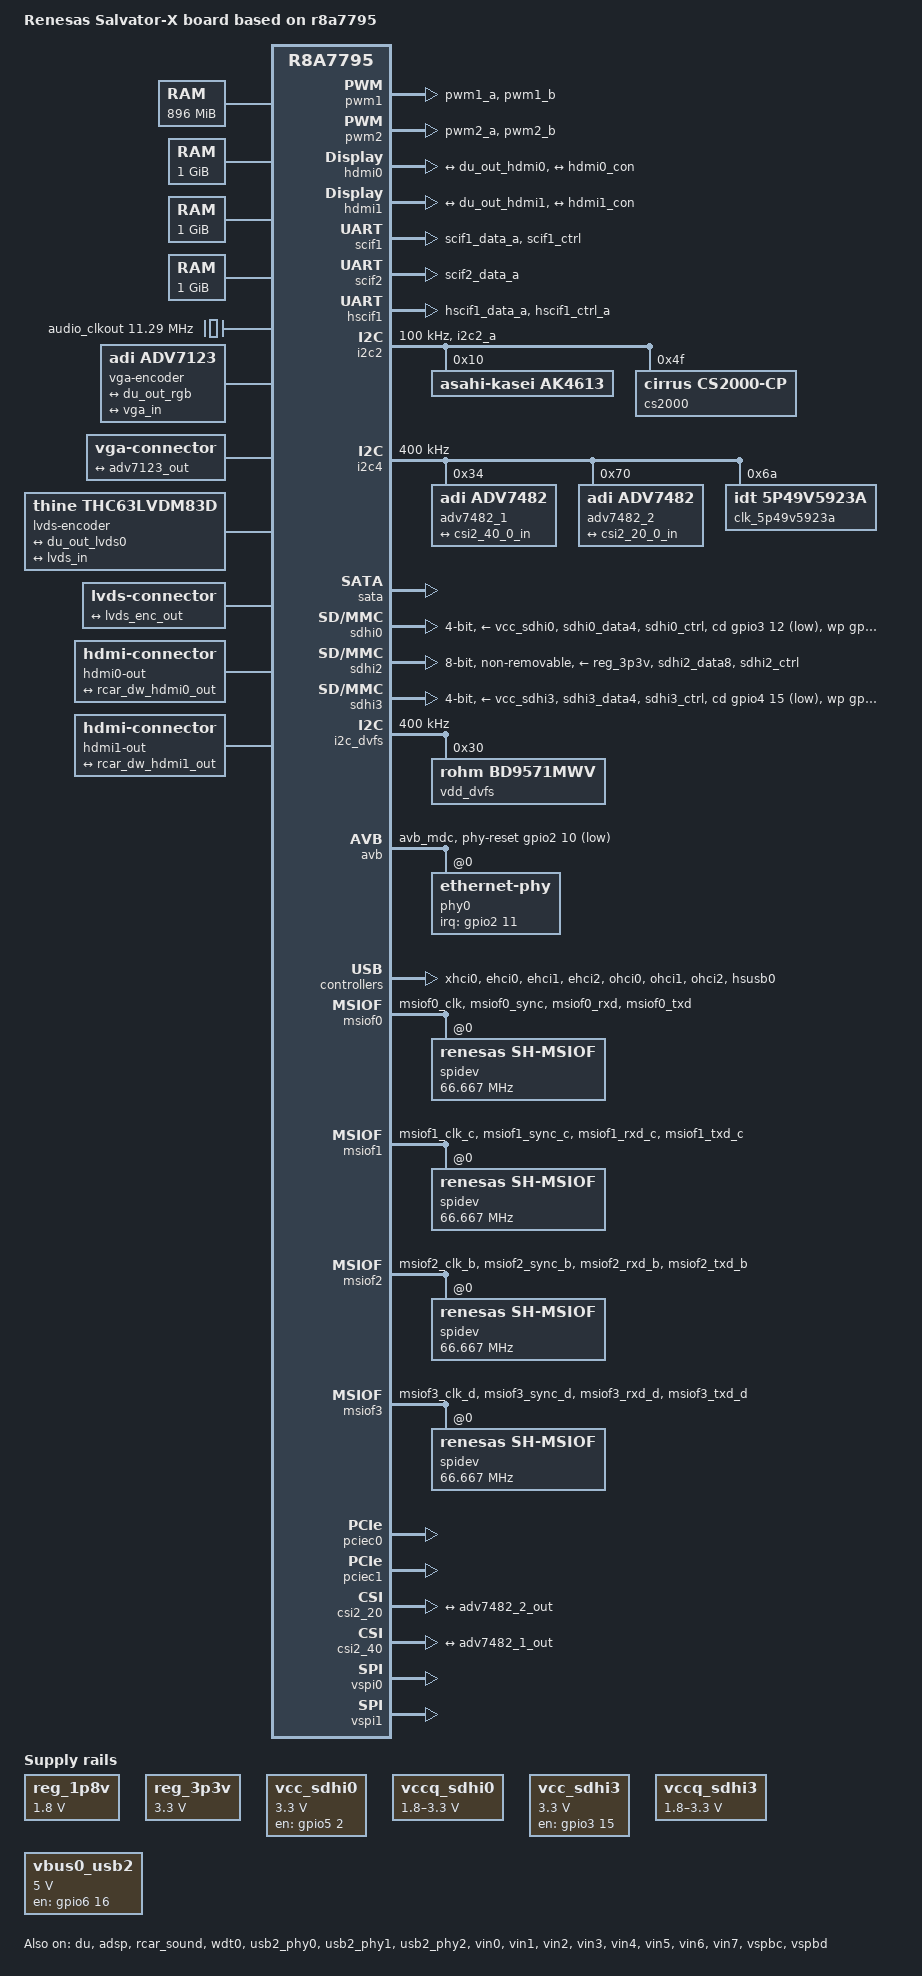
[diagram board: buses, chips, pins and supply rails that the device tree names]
/*
 * Device Tree Source for the Salvator-X board
 *
 * Copyright (C) 2015-2017 Renesas Electronics Corp.
 *
 * This file is licensed under the terms of the GNU General Public License
 * version 2.  This program is licensed "as is" without any warranty of any
 * kind, whether express or implied.
 */

/*
 * SSI-AK4613
 *
 * This command is required when Playback/Capture
 *
 *	amixer set "DVC Out" 100%
 *	amixer set "DVC In" 100%
 *
 * You can use Mute
 *
 *	amixer set "DVC Out Mute" on
 *	amixer set "DVC In Mute" on
 *
 * You can use Volume Ramp
 *
 *	amixer set "DVC Out Ramp Up Rate"   "0.125 dB/64 steps"
 *	amixer set "DVC Out Ramp Down Rate" "0.125 dB/512 steps"
 *	amixer set "DVC Out Ramp" on
 *	aplay xxx.wav &
 *	amixer set "DVC Out"  80%  // Volume Down
 *	amixer set "DVC Out" 100%  // Volume Up
 */

/dts-v1/;
#include "r8a7795.dtsi"
#include <dt-bindings/gpio/gpio.h>

/ {
	model = "Renesas Salvator-X board based on r8a7795";
	compatible = "renesas,salvator-x", "renesas,r8a7795";

	aliases {
		serial0 = &scif2;
		serial1 = &scif1;
		ethernet0 = &avb;
	};

	chosen {
		bootargs = "ignore_loglevel rw root=/dev/nfs ip=dhcp";
		stdout-path = "serial0:115200n8";
	};

	memory@48000000 {
		device_type = "memory";
		/* first 128MB is reserved for secure area. */
		reg = <0x0 0x48000000 0x0 0x38000000>;
	};

	memory@500000000 {
		device_type = "memory";
		reg = <0x5 0x00000000 0x0 0x40000000>;
	};

	memory@600000000 {
		device_type = "memory";
		reg = <0x6 0x00000000 0x0 0x40000000>;
	};

	memory@700000000 {
		device_type = "memory";
		reg = <0x7 0x00000000 0x0 0x40000000>;
	};

	reserved-memory {
		#address-cells = <2>;
		#size-cells = <2>;
		ranges;

		/* device specific region for Lossy Decompression */
		lossy_decompress: linux,lossy_decompress {
			no-map;
			reg = <0x00000000 0x54000000 0x0 0x03000000>;
		};

		/* For Audio DSP */
		adsp_reserved: linux,adsp {
			compatible = "shared-dma-pool";
			reusable;
			reg = <0x00000000 0x57000000 0x0 0x01000000>;
		};

		/* global autoconfigured region for contiguous allocations */
		linux,cma {
			compatible = "shared-dma-pool";
			reusable;
			reg = <0x00000000 0x58000000 0x0 0x18000000>;
			linux,cma-default;
		};

		/* device specific region for contiguous allocations */
		mmp_reserved: linux,multimedia {
			compatible = "shared-dma-pool";
			reusable;
			reg = <0x00000000 0x70000000 0x0 0x10000000>;
		};
	};

	mmngr {
		compatible = "renesas,mmngr";
		memory-region = <&mmp_reserved>, <&lossy_decompress>;
	};

	mmngrbuf {
		compatible = "renesas,mmngrbuf";
	};

	avb-mch {
		compatible = "renesas,avb-mch-gen3";
		reg =	<0 0xec5a0100 0 0x100>;  /* ADG_AVB */
		reg-name = "adg_avb";

		clocks = <&cpg CPG_MOD 922>;
		clock-names = "adg";
	};

	x12_clk: x12_clk {
		compatible = "fixed-clock";
		#clock-cells = <0>;
		clock-frequency = <24576000>;
	};

	reg_1p8v: regulator0 {
		compatible = "regulator-fixed";
		regulator-name = "fixed-1.8V";
		regulator-min-microvolt = <1800000>;
		regulator-max-microvolt = <1800000>;
		regulator-boot-on;
		regulator-always-on;
	};

	reg_3p3v: regulator1 {
		compatible = "regulator-fixed";
		regulator-name = "fixed-3.3V";
		regulator-min-microvolt = <3300000>;
		regulator-max-microvolt = <3300000>;
		regulator-boot-on;
		regulator-always-on;
	};

	vcc_sdhi0: regulator-vcc-sdhi0 {
		compatible = "regulator-fixed";

		regulator-name = "SDHI0 Vcc";
		regulator-min-microvolt = <3300000>;
		regulator-max-microvolt = <3300000>;

		gpio = <&gpio5 2 GPIO_ACTIVE_HIGH>;
		enable-active-high;
	};

	vccq_sdhi0: regulator-vccq-sdhi0 {
		compatible = "regulator-gpio";

		regulator-name = "SDHI0 VccQ";
		regulator-min-microvolt = <1800000>;
		regulator-max-microvolt = <3300000>;

		gpios = <&gpio5 1 GPIO_ACTIVE_HIGH>;
		gpios-states = <1>;
		states = <3300000 1
			  1800000 0>;
	};

	vcc_sdhi3: regulator-vcc-sdhi3 {
		compatible = "regulator-fixed";

		regulator-name = "SDHI3 Vcc";
		regulator-min-microvolt = <3300000>;
		regulator-max-microvolt = <3300000>;

		gpio = <&gpio3 15 GPIO_ACTIVE_HIGH>;
		enable-active-high;
	};

	vccq_sdhi3: regulator-vccq-sdhi3 {
		compatible = "regulator-gpio";

		regulator-name = "SDHI3 VccQ";
		regulator-min-microvolt = <1800000>;
		regulator-max-microvolt = <3300000>;

		gpios = <&gpio3 14 GPIO_ACTIVE_HIGH>;
		gpios-states = <1>;
		states = <3300000 1
			  1800000 0>;
	};

	vbus0_usb2: regulator-vbus0-usb2 {
		compatible = "regulator-fixed";

		regulator-name = "USB20_VBUS0";
		regulator-min-microvolt = <5000000>;
		regulator-max-microvolt = <5000000>;

		gpio = <&gpio6 16 GPIO_ACTIVE_HIGH>;
		enable-active-high;
	};

	audio_clkout: audio_clkout {
		/*
		 * This is same as <&rcar_sound 0>
		 * but needed to avoid cs2000/rcar_sound probe dead-lock
		 */
		compatible = "fixed-clock";
		#clock-cells = <0>;
		clock-frequency = <11289600>;
	};

	rsnd_ak4613: sound {
		compatible = "simple-audio-card";

		simple-audio-card,format = "left_j";
		simple-audio-card,bitclock-master = <&sndcpu>;
		simple-audio-card,frame-master = <&sndcpu>;

		sndcpu: simple-audio-card,cpu {
			sound-dai = <&rcar_sound>;
		};

		sndcodec: simple-audio-card,codec {
			sound-dai = <&ak4613>;
		};
	};

	vga-encoder {
		compatible = "adi,adv7123";

		ports {
			#address-cells = <1>;
			#size-cells = <0>;

			port@0 {
				reg = <0>;
				adv7123_in: endpoint {
					remote-endpoint = <&du_out_rgb>;
				};
			};
			port@1 {
				reg = <1>;
				adv7123_out: endpoint {
					remote-endpoint = <&vga_in>;
				};
			};
		};
	};

	vga {
		compatible = "vga-connector";

		port {
			vga_in: endpoint {
				remote-endpoint = <&adv7123_out>;
			};
		};
	};

	vspm_if {
		compatible = "renesas,vspm_if";
	};

	lvds-encoder {
		compatible = "thine,thc63lvdm83d";

		ports {
			#address-cells = <1>;
			#size-cells = <0>;
			port@0 {
				reg = <0>;
				lvds_enc_in: endpoint {
					remote-endpoint = <&du_out_lvds0>;
				};
			};
			port@1 {
				reg = <1>;
				lvds_enc_out: endpoint {
					remote-endpoint = <&lvds_in>;
				};
			};
		};
	};

	lvds {
		compatible = "lvds-connector", "panel-lvds";

		width-mm = <210>;
		height-mm = <158>;

		data-mapping = "jeida-24";

		panel-timing {
			/* 1024x768 @60Hz */
			clock-frequency = <65000000>;
			hactive = <1024>;
			vactive = <768>;
			hsync-len = <136>;
			hfront-porch = <20>;
			hback-porch = <160>;
			vfront-porch = <3>;
			vback-porch = <29>;
			vsync-len = <6>;
		};

		port {
			lvds_in: endpoint {
				remote-endpoint = <&lvds_enc_out>;
			};
		};
	};

	hdmi0-out {
		compatible = "hdmi-connector";
		type = "a";

		port {
			hdmi0_con: endpoint {
				remote-endpoint = <&rcar_dw_hdmi0_out>;
			};
		};
	};

	hdmi1-out {
		compatible = "hdmi-connector";
		type = "a";

		port {
			hdmi1_con: endpoint {
				remote-endpoint = <&rcar_dw_hdmi1_out>;
			};
		};
	};
};

&du_dotclkin0 {
	clock-frequency = <148500000>;
};

&du_dotclkin1 {
	clock-frequency = <33000000>;
};

&du_dotclkin2 {
	clock-frequency = <33000000>;
};

&du_dotclkin3 {
	clock-frequency = <108000000>;
};

&a57_0 {
	cpu-supply = <&vdd_dvfs>;
};

&pwm1 {
	pinctrl-0 = <&pwm1_pins>;
	pinctrl-names = "default";
	status = "okay";
};

&pwm2 {
	pinctrl-0 = <&pwm2_pins>;
	pinctrl-names = "default";
	status = "okay";
};

&du {
	pinctrl-0 = <&du_pins>;
	pinctrl-names = "default";
	status = "okay";

	/* update <du_dotclkin0/3> to <programmable_clk0/1> */
	clocks = <&cpg CPG_MOD 724>,
		 <&cpg CPG_MOD 723>,
		 <&cpg CPG_MOD 722>,
		 <&cpg CPG_MOD 721>,
		 <&cpg CPG_MOD 727>,
		 <&programmable_clk0>, <&du_dotclkin1>, <&du_dotclkin2>,
		 <&programmable_clk1>;

	backlight-gpios = <&gpio6 7 GPIO_ACTIVE_HIGH>;

	ports {
		port@0 {
			endpoint {
				remote-endpoint = <&adv7123_in>;
			};
		};
		port@1 {
			endpoint {
				remote-endpoint = <&rcar_dw_hdmi0_in>;
			};
		};
		port@2 {
			endpoint {
				remote-endpoint = <&rcar_dw_hdmi1_in>;
			};
		};
		port@3 {
			lvds_connector: endpoint {
				remote-endpoint = <&lvds_enc_in>;
			};
		};
	};
};

&hdmi0 {
	status = "okay";

	ports {
		#address-cells = <1>;
		#size-cells = <0>;
		port@0 {
			reg = <0>;
			rcar_dw_hdmi0_in: endpoint {
				remote-endpoint = <&du_out_hdmi0>;
			};
		};
		port@1 {
			reg = <1>;
			rcar_dw_hdmi0_out: endpoint {
				remote-endpoint = <&hdmi0_con>;
			};
		};
	};
};

&hdmi1 {
	status = "okay";

	ports {
		#address-cells = <1>;
		#size-cells = <0>;
		port@0 {
			reg = <0>;
			rcar_dw_hdmi1_in: endpoint {
				remote-endpoint = <&du_out_hdmi1>;
			};
		};
		port@1 {
			reg = <1>;
			rcar_dw_hdmi1_out: endpoint {
				remote-endpoint = <&hdmi1_con>;
			};
		};
	};
};

&extal_clk {
	clock-frequency = <16666666>;
};

&extalr_clk {
	clock-frequency = <32768>;
};

&pfc {
	pinctrl-0 = <&scif_clk_pins>;
	pinctrl-names = "default";

	pwm1_pins: pwm1 {
		groups = "pwm1_a", "pwm1_b";
		function = "pwm1";
	};

	pwm2_pins: pwm2 {
		groups = "pwm2_a", "pwm2_b";
		function = "pwm2";
	};

	scif1_pins: scif1 {
		groups = "scif1_data_a", "scif1_ctrl";
		function = "scif1";
	};
	scif2_pins: scif2 {
		groups = "scif2_data_a";
		function = "scif2";
	};
	scif_clk_pins: scif_clk {
		groups = "scif_clk_a";
		function = "scif_clk";
	};

	hscif1_pins: hscif1 {
		groups = "hscif1_data_a", "hscif1_ctrl_a";
		function = "hscif1";
	};

	i2c2_pins: i2c2 {
		groups = "i2c2_a";
		function = "i2c2";
	};

	avb_pins: avb {
		groups = "avb_mdc";
		function = "avb";
	};

	du_pins: du {
		groups = "du_rgb888", "du_sync", "du_oddf", "du_clk_out_0";
		function = "du";
	};

	sdhi0_pins: sd0 {
		groups = "sdhi0_data4", "sdhi0_ctrl";
		function = "sdhi0";
		power-source = <3300>;
	};

	sdhi0_pins_uhs: sd0_uhs {
		groups = "sdhi0_data4", "sdhi0_ctrl";
		function = "sdhi0";
		power-source = <1800>;
	};

	sdhi2_pins: sd2 {
		groups = "sdhi2_data8", "sdhi2_ctrl";
		function = "sdhi2";
		power-source = <3300>;
	};

	sdhi2_pins_uhs: sd2_uhs {
		groups = "sdhi2_data8", "sdhi2_ctrl";
		function = "sdhi2";
		power-source = <1800>;
	};

	sdhi3_pins: sd3 {
		groups = "sdhi3_data4", "sdhi3_ctrl";
		function = "sdhi3";
		power-source = <3300>;
	};

	sdhi3_pins_uhs: sd3_uhs {
		groups = "sdhi3_data4", "sdhi3_ctrl";
		function = "sdhi3";
		power-source = <1800>;
	};

	msiof0_pins: spi1 {
		groups = "msiof0_clk", "msiof0_sync",
				"msiof0_rxd",  "msiof0_txd";
		function = "msiof0";
	};

	msiof1_pins: spi2 {
		groups = "msiof1_clk_c", "msiof1_sync_c",
				"msiof1_rxd_c",  "msiof1_txd_c";
		function = "msiof1";
	};

	msiof2_pins: spi3 {
		groups = "msiof2_clk_b", "msiof2_sync_b",
				"msiof2_rxd_b",  "msiof2_txd_b";
		function = "msiof2";
	};

	msiof3_pins: spi4 {
		groups = "msiof3_clk_d", "msiof3_sync_d",
				"msiof3_rxd_d",  "msiof3_txd_d";
		function = "msiof3";
	};

	sound_pins: sound {
		groups = "ssi01239_ctrl", "ssi0_data", "ssi1_data_a";
		function = "ssi";
	};

	sound_clk_pins: sound_clk {
		groups = "audio_clk_a_a", "audio_clk_b_a", "audio_clk_c_a",
			 "audio_clkout_a", "audio_clkout3_a";
		function = "audio_clk";
	};

	usb0_pins: usb0 {
		groups = "usb0";
		function = "usb0";
	};

	usb1_pins: usb1 {
		mux {
			groups = "usb1";
			function = "usb1";
		};

		ovc {
			pins = "GP_6_27";
			bias-pull-up;
		};

		pwen {
			pins = "GP_6_26";
			bias-pull-down;
		};
	};

	usb2_pins: usb2 {
		groups = "usb2";
		function = "usb2";
	};

	du_pins: du {
		groups = "du_rgb888", "du_sync", "du_clk_out_0", "du_disp";
		function = "du";
	};
};

&adsp {
	status = "okay";
	memory-region = <&adsp_reserved>;
};

&scif1 {
	pinctrl-0 = <&scif1_pins>;
	pinctrl-names = "default";

	/* Please use exclusively to the hscif1 node */
	status = "okay";
};

&scif2 {
	pinctrl-0 = <&scif2_pins>;
	pinctrl-names = "default";

	status = "okay";
};

&scif_clk {
	clock-frequency = <14745600>;
	status = "okay";
};

&hscif1 {
	pinctrl-0 = <&hscif1_pins>;
	pinctrl-names = "default";
	/* Please use exclusively to the scif1 node */
	/* status = "okay"; */
};

&i2c2 {
	pinctrl-0 = <&i2c2_pins>;
	pinctrl-names = "default";

	status = "okay";

	clock-frequency = <100000>;

	ak4613: codec@10 {
		compatible = "asahi-kasei,ak4613";
		#sound-dai-cells = <0>;
		reg = <0x10>;
		clocks = <&rcar_sound 3>;

		asahi-kasei,in1-single-end;
		asahi-kasei,in2-single-end;
		asahi-kasei,out1-single-end;
		asahi-kasei,out2-single-end;
		asahi-kasei,out3-single-end;
		asahi-kasei,out4-single-end;
		asahi-kasei,out5-single-end;
		asahi-kasei,out6-single-end;
	};

	cs2000: clk_multiplier@4f {
		#clock-cells = <0>;
		compatible = "cirrus,cs2000-cp";
		reg = <0x4f>;
		clocks = <&audio_clkout>, <&x12_clk>;
		clock-names = "clk_in", "ref_clk";

		assigned-clocks = <&cs2000>;
		assigned-clock-rates = <24576000>; /* 1/1 divide */
	};
};

&i2c4 {
	status = "okay";

	clock-frequency = <400000>;

	adv7482_1: hdmi-in@34 {
		compatible = "adi,adv7482";
		reg = <0x34>;

		adi,virtual-channel = <0>;
		adi,input-interface = "rgb888";
		adi,input-hdmi = "on";
		adi,input-sdp = "on";
		adi,sw-reset = "on";

		port {
			adv7482_1_out: endpoint@1 {
				clock-lanes = <0>;
				data-lanes = <1 2 3 4>;
				remote-endpoint = <&csi2_40_0_in>;
			};
		};
	};

	adv7482_2: composite-in@70 {
		compatible = "adi,adv7482";
		reg = <0x70>;

		adi,virtual-channel = <0>;
		adi,input-interface = "ycbcr422";
		adi,input-hdmi = "on";
		adi,input-sdp = "on";
		adi,sw-reset = "on";

		port {
			adv7482_2_out: endpoint@1 {
				clock-lanes = <0>;
				data-lanes = <1>;
				remote-endpoint = <&csi2_20_0_in>;
			};
		};
	};

	clk_5p49v5923a: programmable_clk@6a {
		compatible = "idt,5p49v5923a";
		reg = <0x6a>;

		programmable_clk0: 5p49x_clk1@6a {
			#clock-cells = <0>;
			clocks = <&du_dotclkin0>;
		};

		programmable_clk1: 5p49x_clk2@6a {
			#clock-cells = <0>;
			clocks = <&du_dotclkin3>;
		};
	};
};

&rcar_sound {
	pinctrl-0 = <&sound_pins &sound_clk_pins>;
	pinctrl-names = "default";

	/* Single DAI */
	#sound-dai-cells = <0>;

	/* audio_clkout0/1/2/3 */
	#clock-cells = <1>;
	clock-frequency = <11289600>;
	clkout-lr-synchronous;

	status = "okay";

	/* update <audio_clk_b> to <cs2000> */
	clocks = <&cpg CPG_MOD 1005>,
		 <&cpg CPG_MOD 1006>, <&cpg CPG_MOD 1007>,
		 <&cpg CPG_MOD 1008>, <&cpg CPG_MOD 1009>,
		 <&cpg CPG_MOD 1010>, <&cpg CPG_MOD 1011>,
		 <&cpg CPG_MOD 1012>, <&cpg CPG_MOD 1013>,
		 <&cpg CPG_MOD 1014>, <&cpg CPG_MOD 1015>,
		 <&cpg CPG_MOD 1022>, <&cpg CPG_MOD 1023>,
		 <&cpg CPG_MOD 1024>, <&cpg CPG_MOD 1025>,
		 <&cpg CPG_MOD 1026>, <&cpg CPG_MOD 1027>,
		 <&cpg CPG_MOD 1028>, <&cpg CPG_MOD 1029>,
		 <&cpg CPG_MOD 1030>, <&cpg CPG_MOD 1031>,
		 <&cpg CPG_MOD 1020>, <&cpg CPG_MOD 1021>,
		 <&cpg CPG_MOD 1020>, <&cpg CPG_MOD 1021>,
		 <&cpg CPG_MOD 1019>, <&cpg CPG_MOD 1018>,
		 <&audio_clk_a>, <&cs2000>,
		 <&audio_clk_c>,
		 <&cpg CPG_CORE R8A7795_CLK_S0D4>;

	rcar_sound,dai {
		dai0 {
			playback = <&ssi0 &src0 &dvc0>;
			capture  = <&ssi1 &src1 &dvc1>;
		};
	};
};

&sata {
	status = "okay";
};

&sdhi0 {
	pinctrl-0 = <&sdhi0_pins>;
	pinctrl-1 = <&sdhi0_pins_uhs>;
	pinctrl-names = "default", "state_uhs";

	vmmc-supply = <&vcc_sdhi0>;
	vqmmc-supply = <&vccq_sdhi0>;
	cd-gpios = <&gpio3 12 GPIO_ACTIVE_LOW>;
	wp-gpios = <&gpio3 13 GPIO_ACTIVE_HIGH>;
	bus-width = <4>;
	sd-uhs-sdr50;
	sd-uhs-sdr104;
	status = "okay";
};

&sdhi2 {
	/* used for on-board 8bit eMMC */
	pinctrl-0 = <&sdhi2_pins>;
	pinctrl-1 = <&sdhi2_pins_uhs>;
	pinctrl-names = "default", "state_uhs";

	vmmc-supply = <&reg_3p3v>;
	vqmmc-supply = <&reg_1p8v>;
	mmc-hs200-1_8v;
	mmc-hs400-1_8v;
	bus-width = <8>;
	drive-strength = <1>;
	non-removable;
	status = "okay";
};

&sdhi3 {
	pinctrl-0 = <&sdhi3_pins>;
	pinctrl-1 = <&sdhi3_pins_uhs>;
	pinctrl-names = "default", "state_uhs";

	vmmc-supply = <&vcc_sdhi3>;
	vqmmc-supply = <&vccq_sdhi3>;
	cd-gpios = <&gpio4 15 GPIO_ACTIVE_LOW>;
	wp-gpios = <&gpio4 16 GPIO_ACTIVE_HIGH>;
	bus-width = <4>;
	sd-uhs-sdr50;
	sd-uhs-sdr104;
	status = "okay";
};

&ssi1 {
	shared-pin;
};

&wdt0 {
	timeout-sec = <60>;
	status = "okay";
};

&audio_clk_a {
	clock-frequency = <22579200>;
};

&i2c_dvfs {
	status = "okay";

	clock-frequency = <400000>;

	vdd_dvfs: regulator@30 {
		compatible = "rohm,bd9571mwv";
		reg = <0x30>;

		regulator-min-microvolt = <750000>;
		regulator-max-microvolt = <1030000>;
		regulator-boot-on;
		regulator-always-on;
	};
};

&avb {
	pinctrl-0 = <&avb_pins>;
	pinctrl-names = "default";
	renesas,no-ether-link;
	phy-handle = <&phy0>;
	status = "okay";
	phy-gpios = <&gpio2 11 GPIO_ACTIVE_LOW>;
	phy-reset-gpios = <&gpio2 10 GPIO_ACTIVE_LOW>;

	phy0: ethernet-phy@0 {
		rxc-skew-ps = <1500>;
		rxdv-skew-ps = <420>; /* default */
		rxd0-skew-ps = <420>; /* default */
		rxd1-skew-ps = <420>; /* default */
		rxd2-skew-ps = <420>; /* default */
		rxd3-skew-ps = <420>; /* default */
		txc-skew-ps = <900>; /* default */
		txen-skew-ps = <420>; /* default */
		txd0-skew-ps = <420>; /* default */
		txd1-skew-ps = <420>; /* default */
		txd2-skew-ps = <420>; /* default */
		txd3-skew-ps = <420>; /* default */
		reg = <0>;
		interrupt-parent = <&gpio2>;
		interrupts = <11 IRQ_TYPE_LEVEL_LOW>;
	};
};

&xhci0 {
	status = "okay";
};

&usb2_phy0 {
	pinctrl-0 = <&usb0_pins>;
	pinctrl-names = "default";

	vbus-supply = <&vbus0_usb2>;
	status = "okay";
};

&usb2_phy1 {
	pinctrl-0 = <&usb1_pins>;
	pinctrl-names = "default";

	status = "okay";
};

&usb2_phy2 {
	pinctrl-0 = <&usb2_pins>;
	pinctrl-names = "default";

	status = "okay";
};

&ehci0 {
	status = "okay";
};

&ehci1 {
	status = "okay";
};

&ehci2 {
	status = "okay";
};

&ohci0 {
	status = "okay";
};

&ohci1 {
	status = "okay";
};

&ohci2 {
	status = "okay";
};

&hsusb0 {
	status = "okay";
};

&msiof_ref_clk {
	clock-frequency = <66666666>;
};

&msiof0 {
	pinctrl-0 = <&msiof0_pins>;
	pinctrl-names = "default";
	/* Please use exclusively to the rcar_sound node */
	/* status = "okay"; */

	spidev@0 {
		compatible = "renesas,sh-msiof";
		reg = <0>;
		spi-max-frequency = <66666666>;
		spi-cpha;
		spi-cpol;
	};
};

&msiof1 {
	pinctrl-0 = <&msiof1_pins>;
	pinctrl-names = "default";
	/* In case of using this node, please enable this property */
	/* status = "okay"; */

	spidev@0 {
		compatible = "renesas,sh-msiof";
		reg = <0>;
		spi-max-frequency = <66666666>;
		spi-cpha;
		spi-cpol;
	};
};

&msiof2 {
	pinctrl-0 = <&msiof2_pins>;
	pinctrl-names = "default";
	/* In case of using this node, please enable this property */
	/* status = "okay"; */

	spidev@0 {
		compatible = "renesas,sh-msiof";
		reg = <0>;
		spi-max-frequency = <66666666>;
		spi-cpha;
		spi-cpol;
	};
};

&msiof3 {
	pinctrl-0 = <&msiof3_pins>;
	pinctrl-names = "default";
	/* In case of using this node, please enable this property */
	/* status = "okay"; */

	spidev@0 {
		compatible = "renesas,sh-msiof";
		reg = <0>;
		spi-max-frequency = <66666666>;
		spi-cpha;
		spi-cpol;
	};
};

&pcie_bus_clk {
	clock-frequency = <100000000>;
	status = "okay";
};

&pciec0 {
	status = "okay";
};

&pciec1 {
	status = "okay";
};

&vin0 {
	status = "okay";
};

&vin1 {
	status = "okay";
};

&vin2 {
	status = "okay";
};

&vin3 {
	status = "okay";
};

&vin4 {
	status = "okay";
};

&vin5 {
	status = "okay";
};

&vin6 {
	status = "okay";
};

&vin7 {
	status = "okay";
};

&csi2_20 {
	status = "okay";

	ports {
		#address-cells = <1>;
		#size-cells = <0>;

		port@0 {
			reg = <0>;

			csi2_20_0_in: endpoint@0 {
				clock-lanes = <0>;
				data-lanes = <1>;
				virtual-channel-number = <1>;
				remote-endpoint = <&adv7482_2_out>;
			};
		};
	};
};

&csi2_40 {
	status = "okay";

	ports {
		#address-cells = <1>;
		#size-cells = <0>;

		port@0 {
			reg = <0>;

			csi2_40_0_in: endpoint@0 {
				clock-lanes = <0>;
				data-lanes = <1 2 3 4>;
				virtual-channel-number = <1>;
				remote-endpoint = <&adv7482_1_out>;
			};
		};
	};
};

&vspbc {
	status = "okay";
};

&vspbd {
	status = "okay";
};

&vspi0 {
	status = "okay";
};

&vspi1 {
	status = "okay";
};
